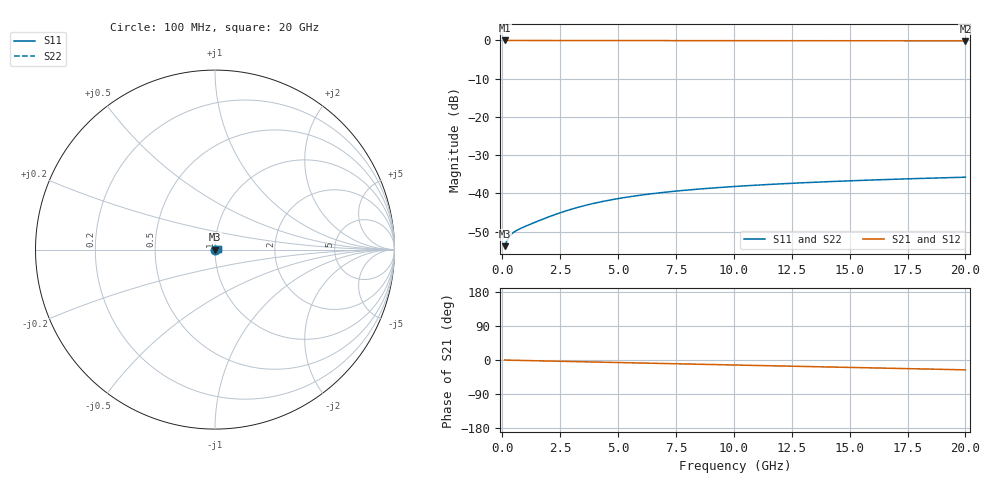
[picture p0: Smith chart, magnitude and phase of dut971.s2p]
! Touchstone file exported from HFSS 2026.1.0
!  File:  C:/ffzhzh/LocalFiles/Ansys_Project_Files/temp_train_TMRDL_971_1783159031_55132.aedt
!  Generated:  05:58:18 PM Jul  4, 2026
!  Design:  TMRDL
!  Project:  temp_train_TMRDL_971_1783159031_55132
! Variables:
!  h_bsmrdl = 2um
!  h_ox = 20um
!  h_rdl = 5um
!  h_sub = 80um
!  h_tmrdl = 4.55um
!  h_tsv = 80um
!  h_via = 3um
!  l_bsmrdl = 300um
!  l_sub = 862.82um
!  l_tmrdl = 462.82um
!  m_sub = 200um
!  pitch = 25.52um
!  r_tsv = 6um
!  s_tmrdl = 10um
!  w_bsmrdl = 18um
!  w_sub = 500um
!  w_tmrdl = 20.76um
!  x_tsv_center1 = 473.2um
!  x_tsv_center2 = 791.2um
!  x_tsv_center3 = 1274.78um
!  x_tsv_center4 = 1592.78um
!  x_tsv_center5 = 2076.36um
!  x_tsv_center6 = 2394.36um
# GHz S MA R 50.000000
! Terminal data exported
! Port[1] = TM_RDL1_1_T1
! Port[2] = TM_RDL1_1_T2
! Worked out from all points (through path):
!   200 points, 100 MHz to 20 GHz, reference 50 ohm
!   highest |S21| = -0.02 dB at 100 MHz (marker M1); lowest = -0.1 dB at 20 GHz (marker M2)
!   group delay of S21, straight-line fit = 3.59 ps
!   lowest |S11| = -53.8 dB at 100 MHz (marker M3), VSWR 1.00, Z = 50.2 + j0.0525 ohm
!   |S11| at or under -10 dB: start of sweep to end of sweep
!   |S22| runs from -53.8 to -35.8 dB; largest |S21 - S12| = 5.2e-15
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0.1  0.002041 14.8  0.998 -0.2  0.998 -0.2  0.002041 14.8
! Gamma 0 0 0 0
! Port Impedance 50 0 50 0
0.2  0.0024 21.5  0.9978 -0.3  0.9978 -0.3  0.0024 21.5
0.3  0.002712 23.7  0.9975 -0.4  0.9975 -0.4  0.002711 23.7
0.4  0.002942 24.5  0.9973 -0.6  0.9973 -0.6  0.002941 24.5
0.5  0.003115 25.2  0.9972 -0.7  0.9972 -0.7  0.003114 25.2
0.7  0.003378 26.9  0.997 -1.0  0.997 -1.0  0.003377 26.9
0.9  0.003603 28.9  0.9969 -1.2  0.9969 -1.2  0.003602 28.9
1.4  0.004173 33.8  0.9966 -1.9  0.9966 -1.9  0.004172 33.9
2.2  0.005186 38.7  0.9961 -3.0  0.9961 -3.0  0.005185 38.7
2.8  0.005971 40.1  0.9957 -3.8  0.9957 -3.8  0.00597 40.1
3.5  0.006859 40.2  0.9951 -4.7  0.9951 -4.7  0.006857 40.2
4.2  0.007688 39.4  0.9945 -5.7  0.9945 -5.7  0.007686 39.4
5  0.008551 37.9  0.9939 -6.7  0.9939 -6.7  0.008547 37.9
5.9  0.009414 35.9  0.9932 -7.9  0.9932 -7.9  0.009408 35.9
6.8  0.01017 33.8  0.9925 -9.0  0.9925 -9.0  0.01017 33.8
7.5  0.01071 32.1  0.992 -10.0  0.992 -10.0  0.0107 32.2
8.3  0.01126 30.3  0.9915 -11.0  0.9915 -11.0  0.01125 30.3
10.1  0.01235 26.4  0.9904 -13.3  0.9904 -13.3  0.01233 26.4
11.7  0.01317 23.1  0.9895 -15.4  0.9895 -15.4  0.01314 23.2
13.4  0.01394 19.8  0.9887 -17.5  0.9887 -17.5  0.01391 19.9
16.7  0.01522 13.8  0.9873 -21.8  0.9873 -21.8  0.01516 13.9
20  0.01628 7.9  0.986 -26.0  0.986 -26.0  0.01619 8.1
